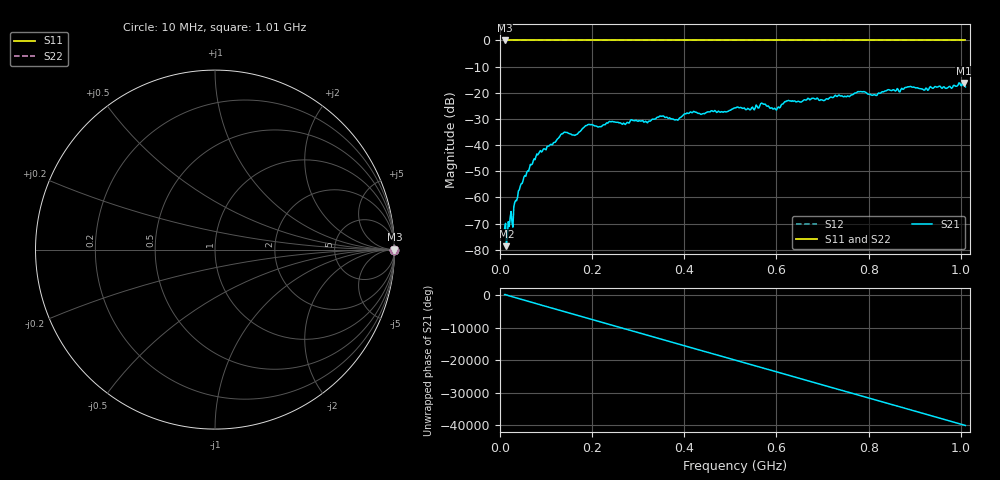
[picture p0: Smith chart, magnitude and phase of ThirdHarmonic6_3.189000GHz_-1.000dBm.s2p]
! 8/17/2025 9:39:11 AM
! C:\ANRITSUVNA\TEMP\TEMP.S2P
! CHANNEL.1
! TR.MEASUREMENT
! RAW.DATA
! RF.CORRECTION.OFF
! AVERAGING.OFF
! IF.BANDWIDTH: 5KHZ
! SWEEPTYPE:  FREQ.SWEEP(Linear)
! Reference Plane Port Info
! PORT:  PORT1  PORT2
! DISTANCE:  0  m  0  m
! TIME:  0  s  0  s
! PHASE.OFFSET:  0  deg.  0  deg.
! LOSS:  0  dB  0  dB
! REF.LOSS:  0  dB  0  dB
! REF.FREQ:  0  Hz  0  Hz
! Power Info
! POWER:  -20  dBm  -20  dBm
! EFF.POWER:  -20  dBm  -20  dBm
! SOURCE.ATTEN:  0  dB  0  dB
! TEST.ATTEN:  0  dB  0  dB
# GHZ S RI R 50.0
! FREQ.GHZ  S11RE  S11IM  S21RE  S21IM  S12RE  S12IM  S22RE  S22IM
!; PortSelection: Port_12
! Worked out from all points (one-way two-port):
!   501 points, 10 MHz to 1.01 GHz, reference 50 ohm
!   highest |S21| = -16.21 dB at 1.006 GHz (marker M1); lowest = -78.6 dB at 14 MHz (marker M2)
!   lowest |S11| = 0.0 dB at 10 MHz (marker M3)
!   |S11| at or under -10 dB: nowhere
!   |S22| runs from 0.0 to 0.0 dB; largest |S21 - S12| = 1.1
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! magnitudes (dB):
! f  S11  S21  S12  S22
! 10 MHz  0.0  -72.0  0.0  0.0
! 14 MHz  0.0  -78.6  0.0  0.0
! 24 MHz  0.0  -65.4  0.0  0.0
! 48 MHz  0.0  -54.7  0.0  0.0
! 82 MHz  0.0  -43.7  0.0  0.0
! 136 MHz  0.0  -35.7  0.0  0.0
! 164 MHz  0.0  -36.1  0.0  0.0
! 178 MHz  0.0  -33.9  0.0  0.0
! 194 MHz  0.0  -32.1  0.0  0.0
! 316 MHz  0.0  -30.9  0.0  0.0
! 344 MHz  0.0  -29.3  0.0  0.0
! 382 MHz  0.0  -30.2  0.0  0.0
! 416 MHz  0.0  -27.6  0.0  0.0
! 510 MHz  0.0  -25.8  0.0  0.0
! 570 MHz  0.0  -24.1  0.0  0.0
! 596 MHz  0.0  -25.9  0.0  0.0
! 622 MHz  0.0  -23.1  0.0  0.0
! 678 MHz  0.0  -22.1  0.0  0.0
! 814 MHz  0.0  -20.8  0.0  0.0
! 844 MHz  0.0  -18.8  0.0  0.0
! 1.006 GHz  0.0  -16.2  0.0  0.0
! 1.01 GHz  0.0  -17.7  0.0  0.0
